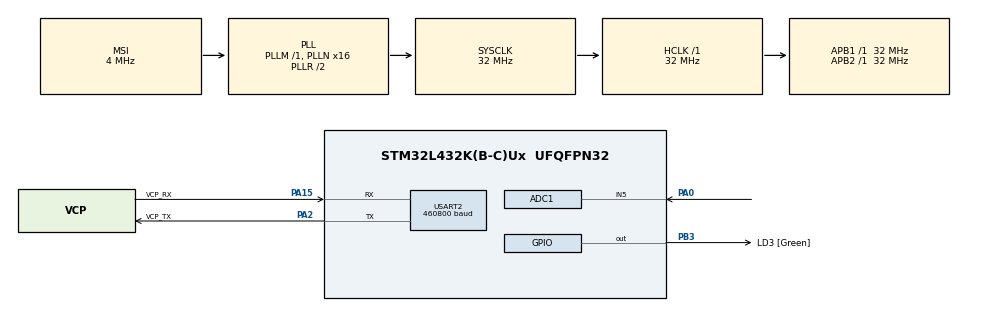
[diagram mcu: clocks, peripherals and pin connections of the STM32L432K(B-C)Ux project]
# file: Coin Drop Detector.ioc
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ADC1.Channel-0\#ChannelRegularConversion=ADC_CHANNEL_5
ADC1.ContinuousConvMode=DISABLE
ADC1.ExternalTrigConv=ADC_EXTERNALTRIG_T2_CC2
ADC1.NbrOfConversionFlag=1
ADC1.OffsetNumber-0\#ChannelRegularConversion=ADC_OFFSET_NONE
ADC1.Rank-0\#ChannelRegularConversion=1
ADC1.SamplingTime-0\#ChannelRegularConversion=ADC_SAMPLETIME_2CYCLES_5
ADC1.master=1
Dma.ADC1.0.Direction=DMA_PERIPH_TO_MEMORY
Dma.ADC1.0.Instance=DMA1_Channel1
Dma.ADC1.0.MemDataAlignment=DMA_MDATAALIGN_HALFWORD
Dma.ADC1.0.MemInc=DMA_MINC_ENABLE
Dma.ADC1.0.Mode=DMA_CIRCULAR
Dma.ADC1.0.PeriphDataAlignment=DMA_PDATAALIGN_HALFWORD
Dma.ADC1.0.PeriphInc=DMA_PINC_DISABLE
Dma.ADC1.0.Priority=DMA_PRIORITY_LOW
Dma.Request0=ADC1
Mcu.Family=STM32L4
Mcu.Name=STM32L432K(B-C)Ux
Mcu.Package=UFQFPN32
NVIC.ADC1_IRQn=true\:0\:0\:false\:false\:true\:true\:true\:true
NVIC.DMA1_Channel1_IRQn=true\:0\:0\:false\:false\:true\:false\:true\:true
NVIC.PriorityGroup=NVIC_PRIORITYGROUP_4
PA0.Signal=ADCx_IN5
PA13\ (JTMS-SWDIO).GPIO_Label=SWDIO
PA13\ (JTMS-SWDIO).Mode=Serial_Wire
PA13\ (JTMS-SWDIO).Signal=SYS_JTMS-SWDIO
PA14\ (JTCK-SWCLK).GPIO_Label=SWCLK
PA14\ (JTCK-SWCLK).Mode=Serial_Wire
PA14\ (JTCK-SWCLK).Signal=SYS_JTCK-SWCLK
PA15\ (JTDI).GPIO_Label=VCP_RX
PA15\ (JTDI).Mode=Asynchronous
PA15\ (JTDI).Signal=USART2_RX
PA2.GPIO_Label=VCP_TX
PA2.Mode=Asynchronous
PA2.Signal=USART2_TX
PB3\ (JTDO-TRACESWO).GPIO_Label=LD3 [Green]
PB3\ (JTDO-TRACESWO).Signal=GPIO_Output
PC14-OSC32_IN\ (PC14).Mode=LSE-External-Oscillator
PC14-OSC32_IN\ (PC14).Signal=RCC_OSC32_IN
PC15-OSC32_OUT\ (PC15).Mode=LSE-External-Oscillator
PC15-OSC32_OUT\ (PC15).Signal=RCC_OSC32_OUT
ProjectManager.HeapSize=0x200
ProjectManager.StackSize=0x400
ProjectManager.TargetToolchain=STM32CubeIDE
RCC.ADCFreq_Value=32000000
RCC.AHBFreq_Value=32000000
RCC.APB1Freq_Value=32000000
RCC.APB1TimFreq_Value=32000000
RCC.APB2Freq_Value=32000000
RCC.APB2TimFreq_Value=32000000
RCC.CortexFreq_Value=32000000
RCC.HCLKFreq_Value=32000000
RCC.HSE_VALUE=8000000
RCC.HSI16_VALUE=16000000
RCC.HSI48_VALUE=48000000
RCC.HSI_VALUE=16000000
RCC.MSI_VALUE=4000000
RCC.PLLMUL=RCC_PLLMUL_4
RCC.PLLN=16
RCC.PLLSAI1N=16
RCC.SYSCLKFreq_VALUE=32000000
RCC.SYSCLKSource=RCC_SYSCLKSOURCE_PLLCLK
RCC.USBFreq_Value=32000000
RCC.VCOOutputFreq_Value=64000000
SH.ADCx_IN5.0=ADC1_IN5,IN5-Single-Ended
TIM2.Period=99
TIM2.Prescaler=31
USART2.BaudRate=460800
USART2.VirtualMode-Asynchronous=VM_ASYNC
VP_TIM2_VS_ClockSourceINT.Mode=Internal
board=NUCLEO-L432KC

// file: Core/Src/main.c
/* USER CODE BEGIN Header */
/**
  ******************************************************************************
  * @file           : main.c
  * @brief          : Main program body
  ******************************************************************************
  * @attention
  *
  * Copyright (c) 2026 STMicroelectronics.
  * All rights reserved.
  *
  * This software is licensed under terms that can be found in the LICENSE file
  * in the root directory of this software component.
  * If no LICENSE file comes with this software, it is provided AS-IS.
  *
  ******************************************************************************
  */
/* USER CODE END Header */

#include "main.h"

/* USER CODE BEGIN Includes */
#include <string.h>
#include <stdio.h>
#include <stdlib.h>
/* USER CODE END Includes */

/* USER CODE BEGIN PD */
#define NSAMPLES        15000
#define BASELINE_ADC    2000
#define SPIKE_THRESHOLD 500
/* USER CODE END PD */

ADC_HandleTypeDef hadc1;
DMA_HandleTypeDef hdma_adc1;

TIM_HandleTypeDef htim2;

UART_HandleTypeDef huart2;

/* USER CODE BEGIN PV */
volatile uint16_t adcLatest = 0;
volatile uint8_t adcSampleReady = 0;

uint16_t captureBuf[NSAMPLES];
volatile uint16_t captureIndex = 0;

volatile uint8_t capturing = 0;
volatile uint8_t captureDone = 0;

char msg[64];
/* USER CODE END PV */

void SystemClock_Config(void);
static void MX_GPIO_Init(void);
static void MX_DMA_Init(void);
static void MX_USART2_UART_Init(void);
static void MX_ADC1_Init(void);
static void MX_TIM2_Init(void);

/* USER CODE BEGIN PFP */
static void SendCaptureBuffer(void);
/* USER CODE END PFP */

/* USER CODE BEGIN 0 */
void HAL_ADC_ConvCpltCallback(ADC_HandleTypeDef *hadc)
{
  if (hadc->Instance == ADC1)
  {
    adcSampleReady = 1;
  }
}

void HAL_ADC_ConvHalfCpltCallback(ADC_HandleTypeDef *hadc)
{
  if (hadc->Instance == ADC1)
  {
    adcSampleReady = 1;
  }
}

static void SendCaptureBuffer(void)
{
  snprintf(msg, sizeof(msg), "START\r\n");
  HAL_UART_Transmit(&huart2, (uint8_t *)msg, strlen(msg), HAL_MAX_DELAY);

  for (uint16_t i = 0; i < NSAMPLES; i++)
  {
    int len = snprintf(msg, sizeof(msg), "%u\r\n", captureBuf[i]);
    HAL_UART_Transmit(&huart2, (uint8_t *)msg, len, HAL_MAX_DELAY);
  }

  snprintf(msg, sizeof(msg), "END,N=%u\r\n", NSAMPLES);
  HAL_UART_Transmit(&huart2, (uint8_t *)msg, strlen(msg), HAL_MAX_DELAY);
}
/* USER CODE END 0 */

int main(void)
{
  HAL_Init();
  SystemClock_Config();

  MX_GPIO_Init();
  MX_DMA_Init();
  MX_USART2_UART_Init();
  MX_ADC1_Init();
  MX_TIM2_Init();

  /* USER CODE BEGIN 2 */
  HAL_GPIO_WritePin(GPIOB, GPIO_PIN_3, GPIO_PIN_RESET);

  HAL_TIM_Base_Start(&htim2);
  HAL_ADC_Start_DMA(&hadc1, (uint32_t *)&adcLatest, 1);

  snprintf(msg, sizeof(msg),
           "READY baseline=%u threshold=%u nsamples=%u\r\n",
           BASELINE_ADC, SPIKE_THRESHOLD, NSAMPLES);
  HAL_UART_Transmit(&huart2, (uint8_t *)msg, strlen(msg), HAL_MAX_DELAY);
  /* USER CODE END 2 */

  while (1)
  {
    if (adcSampleReady)
    {
      adcSampleReady = 0;
      uint16_t sample = adcLatest;

      if (!capturing)
      {
        if (abs((int)sample - BASELINE_ADC) >= SPIKE_THRESHOLD)
        {
          capturing = 1;
          captureDone = 0;
          captureIndex = 0;

          HAL_GPIO_WritePin(GPIOB, GPIO_PIN_3, GPIO_PIN_SET);

          captureBuf[captureIndex++] = sample;
        }
      }
      else
      {
        if (captureIndex < NSAMPLES)
        {
          captureBuf[captureIndex++] = sample;
        }

        if (captureIndex >= NSAMPLES)
        {
          capturing = 0;
          captureDone = 1;
          HAL_GPIO_WritePin(GPIOB, GPIO_PIN_3, GPIO_PIN_RESET);
        }
      }
    }

    if (captureDone)
    {
      captureDone = 0;
      SendCaptureBuffer();

      snprintf(msg, sizeof(msg), "READY\r\n");
      HAL_UART_Transmit(&huart2, (uint8_t *)msg, strlen(msg), HAL_MAX_DELAY);
    }
  }
}

void SystemClock_Config(void)
{
  RCC_OscInitTypeDef RCC_OscInitStruct = {0};
  RCC_ClkInitTypeDef RCC_ClkInitStruct = {0};

  if (HAL_PWREx_ControlVoltageScaling(PWR_REGULATOR_VOLTAGE_SCALE1) != HAL_OK)
  {
    Error_Handler();
  }

  HAL_PWR_EnableBkUpAccess();
  __HAL_RCC_LSEDRIVE_CONFIG(RCC_LSEDRIVE_LOW);

  RCC_OscInitStruct.OscillatorType = RCC_OSCILLATORTYPE_LSE | RCC_OSCILLATORTYPE_MSI;
  RCC_OscInitStruct.LSEState = RCC_LSE_ON;
  RCC_OscInitStruct.MSIState = RCC_MSI_ON;
  RCC_OscInitStruct.MSICalibrationValue = 0;
  RCC_OscInitStruct.MSIClockRange = RCC_MSIRANGE_6;
  RCC_OscInitStruct.PLL.PLLState = RCC_PLL_ON;
  RCC_OscInitStruct.PLL.PLLSource = RCC_PLLSOURCE_MSI;
  RCC_OscInitStruct.PLL.PLLM = 1;
  RCC_OscInitStruct.PLL.PLLN = 16;
  RCC_OscInitStruct.PLL.PLLP = RCC_PLLP_DIV7;
  RCC_OscInitStruct.PLL.PLLQ = RCC_PLLQ_DIV2;
  RCC_OscInitStruct.PLL.PLLR = RCC_PLLR_DIV2;
  if (HAL_RCC_OscConfig(&RCC_OscInitStruct) != HAL_OK)
  {
    Error_Handler();
  }

  RCC_ClkInitStruct.ClockType = RCC_CLOCKTYPE_HCLK | RCC_CLOCKTYPE_SYSCLK
                              | RCC_CLOCKTYPE_PCLK1 | RCC_CLOCKTYPE_PCLK2;
  RCC_ClkInitStruct.SYSCLKSource = RCC_SYSCLKSOURCE_PLLCLK;
  RCC_ClkInitStruct.AHBCLKDivider = RCC_SYSCLK_DIV1;
  RCC_ClkInitStruct.APB1CLKDivider = RCC_HCLK_DIV1;
  RCC_ClkInitStruct.APB2CLKDivider = RCC_HCLK_DIV1;

  if (HAL_RCC_ClockConfig(&RCC_ClkInitStruct, FLASH_LATENCY_1) != HAL_OK)
  {
    Error_Handler();
  }

  HAL_RCCEx_EnableMSIPLLMode();
}

static void MX_ADC1_Init(void)
{
  ADC_ChannelConfTypeDef sConfig = {0};

  hadc1.Instance = ADC1;
  hadc1.Init.ClockPrescaler = ADC_CLOCK_ASYNC_DIV1;
  hadc1.Init.Resolution = ADC_RESOLUTION_12B;
  hadc1.Init.DataAlign = ADC_DATAALIGN_RIGHT;
  hadc1.Init.ScanConvMode = ADC_SCAN_DISABLE;
  hadc1.Init.EOCSelection = ADC_EOC_SINGLE_CONV;
  hadc1.Init.LowPowerAutoWait = DISABLE;
  hadc1.Init.ContinuousConvMode = DISABLE;
  hadc1.Init.NbrOfConversion = 1;
  hadc1.Init.DiscontinuousConvMode = DISABLE;
  hadc1.Init.ExternalTrigConv = ADC_EXTERNALTRIG_T2_TRGO;
  hadc1.Init.ExternalTrigConvEdge = ADC_EXTERNALTRIGCONVEDGE_RISING;
  hadc1.Init.DMAContinuousRequests = ENABLE;
  hadc1.Init.Overrun = ADC_OVR_DATA_PRESERVED;
  hadc1.Init.OversamplingMode = DISABLE;
  if (HAL_ADC_Init(&hadc1) != HAL_OK)
  {
    Error_Handler();
  }

  sConfig.Channel = ADC_CHANNEL_5;
  sConfig.Rank = ADC_REGULAR_RANK_1;
  sConfig.SamplingTime = ADC_SAMPLETIME_2CYCLES_5;
  sConfig.SingleDiff = ADC_SINGLE_ENDED;
  sConfig.OffsetNumber = ADC_OFFSET_NONE;
  sConfig.Offset = 0;
  if (HAL_ADC_ConfigChannel(&hadc1, &sConfig) != HAL_OK)
  {
    Error_Handler();
  }
}

static void MX_TIM2_Init(void)
{
  TIM_ClockConfigTypeDef sClockSourceConfig = {0};
  TIM_MasterConfigTypeDef sMasterConfig = {0};

  htim2.Instance = TIM2;
  htim2.Init.Prescaler = 31;
  htim2.Init.CounterMode = TIM_COUNTERMODE_UP;
  htim2.Init.Period = 99;
  htim2.Init.ClockDivision = TIM_CLOCKDIVISION_DIV1;
  htim2.Init.AutoReloadPreload = TIM_AUTORELOAD_PRELOAD_DISABLE;
  if (HAL_TIM_Base_Init(&htim2) != HAL_OK)
  {
    Error_Handler();
  }

  sClockSourceConfig.ClockSource = TIM_CLOCKSOURCE_INTERNAL;
  if (HAL_TIM_ConfigClockSource(&htim2, &sClockSourceConfig) != HAL_OK)
  {
    Error_Handler();
  }

  sMasterConfig.MasterOutputTrigger = TIM_TRGO_UPDATE;
  sMasterConfig.MasterSlaveMode = TIM_MASTERSLAVEMODE_DISABLE;
  if (HAL_TIMEx_MasterConfigSynchronization(&htim2, &sMasterConfig) != HAL_OK)
  {
    Error_Handler();
  }
}

static void MX_USART2_UART_Init(void)
{
  huart2.Instance = USART2;
  huart2.Init.BaudRate = 921600;
  huart2.Init.WordLength = UART_WORDLENGTH_8B;
  huart2.Init.StopBits = UART_STOPBITS_1;
  huart2.Init.Parity = UART_PARITY_NONE;
  huart2.Init.Mode = UART_MODE_TX_RX;
  huart2.Init.HwFlowCtl = UART_HWCONTROL_NONE;
  huart2.Init.OverSampling = UART_OVERSAMPLING_16;
  huart2.Init.OneBitSampling = UART_ONE_BIT_SAMPLE_DISABLE;
  huart2.AdvancedInit.AdvFeatureInit = UART_ADVFEATURE_NO_INIT;
  if (HAL_UART_Init(&huart2) != HAL_OK)
  {
    Error_Handler();
  }
}

static void MX_DMA_Init(void)
{
  __HAL_RCC_DMA1_CLK_ENABLE();

  HAL_NVIC_SetPriority(DMA1_Channel1_IRQn, 0, 0);
  HAL_NVIC_EnableIRQ(DMA1_Channel1_IRQn);
}

static void MX_GPIO_Init(void)
{
  GPIO_InitTypeDef GPIO_InitStruct = {0};

  __HAL_RCC_GPIOC_CLK_ENABLE();
  __HAL_RCC_GPIOA_CLK_ENABLE();
  __HAL_RCC_GPIOB_CLK_ENABLE();

  HAL_GPIO_WritePin(LD3_GPIO_Port, LD3_Pin, GPIO_PIN_RESET);

  GPIO_InitStruct.Pin = LD3_Pin;
  GPIO_InitStruct.Mode = GPIO_MODE_OUTPUT_PP;
  GPIO_InitStruct.Pull = GPIO_NOPULL;
  GPIO_InitStruct.Speed = GPIO_SPEED_FREQ_LOW;
  HAL_GPIO_Init(LD3_GPIO_Port, &GPIO_InitStruct);
}

void Error_Handler(void)
{
  __disable_irq();
  while (1)
  {
  }
}
